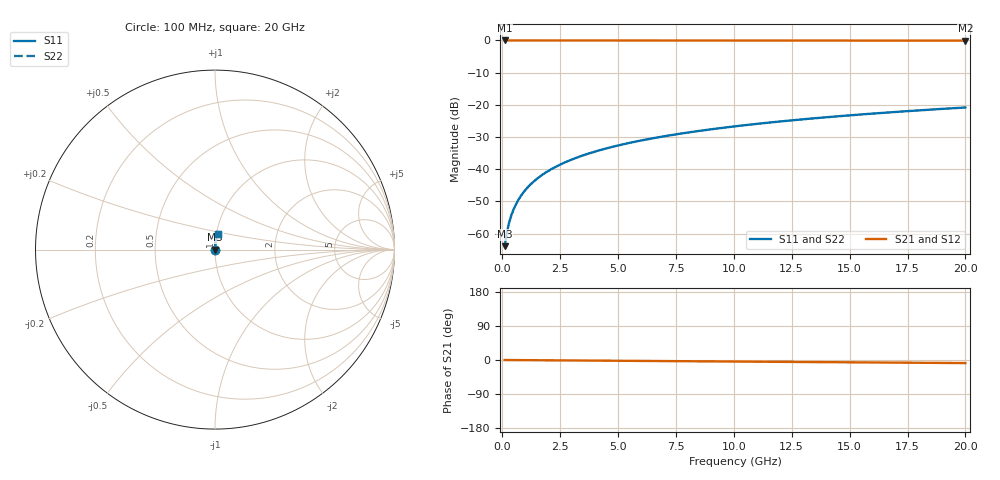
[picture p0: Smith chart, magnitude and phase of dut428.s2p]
! Touchstone file exported from HFSS 2026.1.0
!  File:  C:/ffzhzh/LocalFiles/Ansys_Project_Files/temp_train_TSV_428_1783021064_53980.aedt
!  Generated:  03:39:49 AM Jul  3, 2026
!  Design:  TSV
!  Project:  temp_train_TSV_428_1783021064_53980
! Variables:
!  h_bsmrdl = 2um
!  h_ox = 20um
!  h_rdl = 5um
!  h_sub = 53.46um
!  h_tmrdl = 5um
!  h_tsv = 53.46um
!  h_via = 3um
!  l_bsmrdl = 300um
!  l_sub = 408.06um
!  l_tmrdl = 200um
!  m_sub = 200um
!  pitch = 53um
!  r_tsv = 4.03um
!  s_tmrdl = 10um
!  w_bsmrdl = 18um
!  w_sub = 500um
!  w_tmrdl = 12um
!  x_tsv_center1 = 206um
!  x_tsv_center2 = 524um
!  x_tsv_center3 = 736um
!  x_tsv_center4 = 1054um
!  x_tsv_center5 = 1266um
!  x_tsv_center6 = 1584um
# GHz S MA R 50.000000
! Terminal data exported
! Port[1] = TSV1_1_T1
! Port[2] = TSV1_1_T2
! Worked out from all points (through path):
!   200 points, 100 MHz to 20 GHz, reference 50 ohm
!   highest |S21| = 0.00 dB at 100 MHz (marker M1); lowest = -0.1 dB at 20 GHz (marker M2)
!   group delay of S21, straight-line fit = 1.13 ps
!   lowest |S11| = -63.9 dB at 100 MHz (marker M3), VSWR 1.00, Z = 50 + j0.0486 ohm
!   |S11| at or under -10 dB: start of sweep to end of sweep
!   |S22| runs from -63.9 to -20.8 dB; largest |S21 - S12| = 4.4e-15
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0.1  0.0006361 49.7  0.9996 -0.0  0.9996 -0.0  0.0006361 49.7
! Gamma 0 0 0 0
! Port Impedance 50 0 50 0
0.2  0.001054 66.4  0.9996 -0.1  0.9996 -0.1  0.001054 66.4
0.3  0.001506 73.3  0.9996 -0.1  0.9996 -0.1  0.001506 73.3
0.4  0.001966 76.9  0.9996 -0.2  0.9996 -0.2  0.001966 76.9
0.5  0.002429 79.2  0.9995 -0.2  0.9995 -0.2  0.002429 79.2
0.7  0.003359 81.8  0.9995 -0.3  0.9995 -0.3  0.003359 81.8
0.8  0.003826 82.7  0.9995 -0.3  0.9995 -0.3  0.003826 82.7
1  0.004762 83.8  0.9995 -0.4  0.9995 -0.4  0.004762 83.8
1.2  0.005699 84.6  0.9995 -0.5  0.9995 -0.5  0.005699 84.6
1.4  0.006636 85.1  0.9995 -0.6  0.9995 -0.6  0.006636 85.1
1.7  0.008043 85.6  0.9994 -0.7  0.9994 -0.7  0.008043 85.6
2  0.009447 85.9  0.9994 -0.8  0.9994 -0.8  0.009447 85.9
2.7  0.01272 86.1  0.9993 -1.1  0.9993 -1.1  0.01272 86.1
3.5  0.01644 86.2  0.9992 -1.4  0.9992 -1.4  0.01644 86.2
4.2  0.01967 86.0  0.999 -1.7  0.999 -1.7  0.01967 86.0
5  0.02335 85.9  0.9989 -2.1  0.9989 -2.1  0.02335 85.9
6.8  0.03158 85.4  0.9985 -2.8  0.9985 -2.8  0.03158 85.4
8.3  0.0384 84.9  0.9981 -3.4  0.9981 -3.4  0.0384 84.9
10.1  0.04654 84.3  0.9976 -4.1  0.9976 -4.1  0.04654 84.3
13.4  0.06141 83.2  0.9966 -5.5  0.9966 -5.5  0.06141 83.2
16.7  0.07619 82.0  0.9955 -6.8  0.9955 -6.8  0.07619 82.0
20  0.09086 80.8  0.9941 -8.1  0.9941 -8.1  0.09086 80.8
